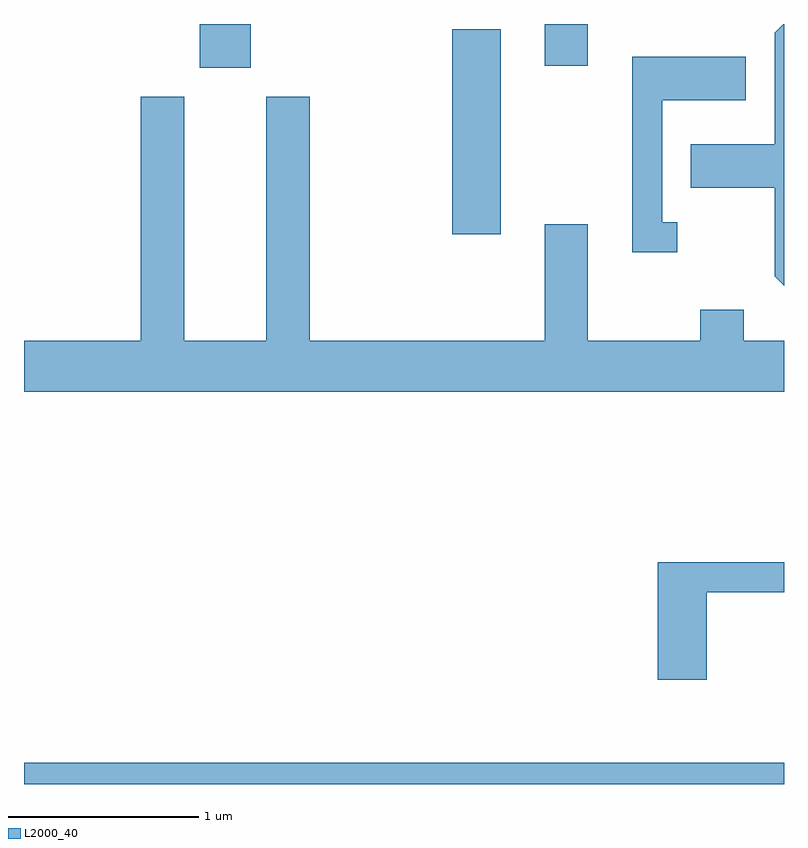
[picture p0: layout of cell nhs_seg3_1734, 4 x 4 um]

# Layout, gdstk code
import gdstk
lib = gdstk.Library(unit=1e-6, precision=1e-09)
def R(c, l, rs):  # rectangles x0, y0, x1, y1
    for r in rs: c.add(gdstk.rectangle(r[:2], r[2:], *l))
def P(c, l, *ps):  # polygons
    for p in ps: c.add(gdstk.Polygon(p, *l))
L2000_40 = (2000, 40)

nhs_seg3_1734 = lib.new_cell('nhs_seg3_1734')
R(nhs_seg3_1734, L2000_40, [(235.611,1183.892,239.611,1184.004), (237.866,1186.786,238.119,1187.864), (236.536,1187.661,236.804,1187.892), (238.351,1187.671,238.579,1187.892)])
P(nhs_seg3_1734, L2000_40, [(239.611,1187.892),(239.606,1187.892),(239.561,1187.847),(239.561,1187.259),(239.121,1187.259),(239.121,1187.031),(239.561,1187.031),(239.561,1186.564),(239.611,1186.514)],
  [(239.048,1186.849),(238.969,1186.849),(238.969,1187.491),(239.409,1187.491),(239.409,1187.719),(238.811,1187.719),(238.811,1186.691),(239.048,1186.691)],
  [(239.611,1186.224),(239.399,1186.224),(239.399,1186.389),(239.171,1186.389),(239.171,1186.224),(238.579,1186.224),(238.579,1186.839),(238.351,1186.839),(238.351,1186.224),(237.114,1186.224),(237.114,1187.509),(236.886,1187.509),(236.886,1186.224),(236.454,1186.224),(236.454,1187.509),(236.226,1187.509),(236.226,1186.224),(235.611,1186.224),(235.611,1185.956),(239.611,1185.956)],
  [(239.204,1184.901),(239.611,1184.901),(239.611,1185.059),(238.946,1185.059),(238.946,1184.441),(239.204,1184.441)])

lib.write_gds('nhs_seg3_1734.gds')
